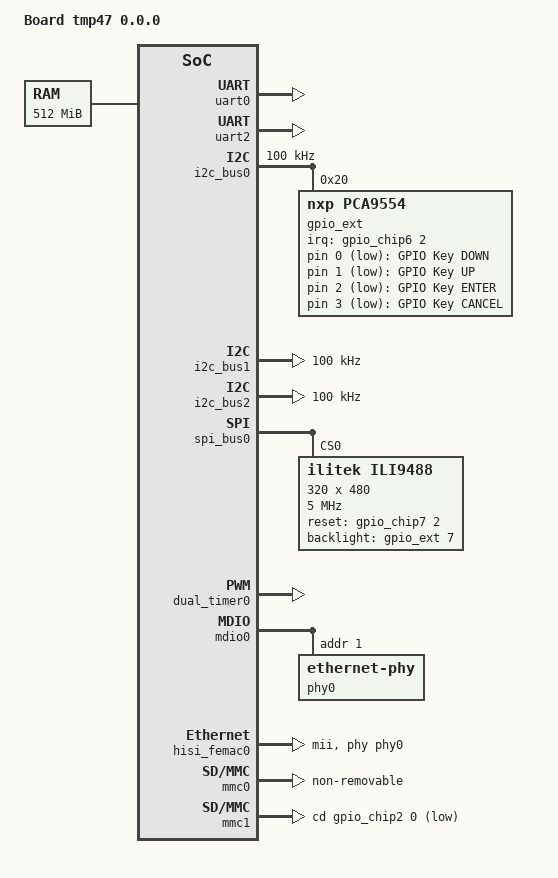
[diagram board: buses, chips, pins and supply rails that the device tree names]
/*
 * Copyright (c) 2013-2014 Linaro Ltd.
 * Copyright (c) 2015-2017 HiSilicon Technologies Co., Ltd.
 *
 * This program is free software; you can redistribute  it and/or modify it
 * under  the terms of  the GNU General  Public License as published by the
 * Free Software Foundation;  either version 2 of the  License, or (at your
 * option) any later version.
 *
 * This program is distributed in the hope that it will be useful,
 * but WITHOUT ANY WARRANTY; without even the implied warranty of
 * MERCHANTABILITY or FITNESS FOR A PARTICULAR PURPOSE. See the
 * GNU General Public License for more details.
 *
 * You should have received a copy of the GNU General Public License
 * along with this program.  If not, see <http://www.gnu.org/licenses/>.
 *
 */

/dts-v1/;
#include "hi3518ev300.dtsi"

/ {
	model = "Board tmp47 0.0.0";
	compatible = "hisilicon,hi3518ev300";

	memory {
		device_type = "memory";
		reg = <0x40000000 0x20000000>;
	};

	gpio-keys {
		#address-cells = <1>;
		#size-cells = <0>;
		compatible = "gpio-keys";

		down {
			label = "GPIO Key DOWN";
			linux,code = <4>;    /* KEY_3 */
			gpios = <&gpio_ext 0 1>; /* I/O0, input, active low */
		};

		up {
			label = "GPIO Key UP";
			linux,code = <3>;    /* KEY_2 */
			gpios = <&gpio_ext 1 1>; /* I/O1, input, active low */
		};

		enter {
			label = "GPIO Key ENTER";
			linux,code = <2>;    /* KEY_1 */
			gpios = <&gpio_ext 2 1>; /* I/O2, input, active low */
		};

		cancel {
			label = "GPIO Key CANCEL";
			linux,code = <5>;    /* KEY_4 */
			gpios = <&gpio_ext 3 1>; /* I/O3, input, active low */
		};
	};
};


&uart0 {
	status = "okay";
};

&uart1 {
	status = "disabled";
};

&uart2 {
	status = "okay";
};

&i2c_bus0 {
	status = "okay";
	clock-frequency = <100000>;

	/* PCA9554PW (A0..A2 = 0) at 0x20, INT -> GPIO6_2 */
	gpio_ext: pca9554@20 {
		compatible = "nxp,pca9554";
		gpio-controller;
		#gpio-cells = <2>;
		reg = <0x20>;
		interrupt-controller;
		#interrupt-cells = <2>;
		interrupt-parent = <&gpio_chip6>;
		interrupts = <2 0x8>;
	};
};

&i2c_bus1 {
    status = "okay";
    clock-frequency = <100000>;
};

&i2c_bus2 {
    status = "okay";
    clock-frequency = <100000>;
	#address-cells = <1>;
	#size-cells = <0>;
};

&spi_bus0 {
    status = "okay";
    num-cs = <1>;
    
    ili9488@0 {
        compatible = "ilitek,ili9488";
        reg = <0>;
        spi-max-frequency = <5000000>;
        spi-cpol;
        spi-cpha;
        reset-gpios = <&gpio_chip7 2 0>;
        backlight-gpios = <&gpio_ext 7 0>;
        width = <320>;
        height = <480>;
    };
};

&dual_timer0 {
	status = "okay";
};

&mdio0 {
	hisilicon,phy-reset-delays-us = <10000 20000 150000>;
	phy0: ethernet-phy@1 {
		reg = <1>;
	};
};

&hisi_femac0 {
	mac-address = [00 00 00 00 00 00];
	phy-mode = "mii";
	phy-handle = <&phy0>;
	status = "okay";
};

&fmc {
	status = "disabled";
};

&mmc0 {
	non-removable;
	status = "okay";
};

/* redefine base address for mmc1 iocfg */
&iocfg_ctrl2 {
	reg = <0x100C0000 0x10000>;
};

&mmc1 {
	status = "okay";
	no-1-8-v;
	max-frequency = <25000000>;
	no-mmc;
	dsr = <0xffff>;
	cd-gpios = <&gpio_chip2 0 1>;
	pwr-gpios = <&gpio_chip5 0 0>; /* 0 = active high */
	disable-wp;
};

&gpio_chip0 {
	status = "okay";
};

&gpio_chip1 {
	status = "okay";
};

&gpio_chip2 {
	status = "okay";
};

&gpio_chip4 {
	status = "okay";
};

&gpio_chip5 {
	status = "okay";
};

&gpio_chip6 {
	status = "okay";
	interrupt-controller;
	#interrupt-cells = <2>;
};

&gpio_chip7 {
	status = "okay";
};

&gpio_chip8 {
	status = "okay";
};
